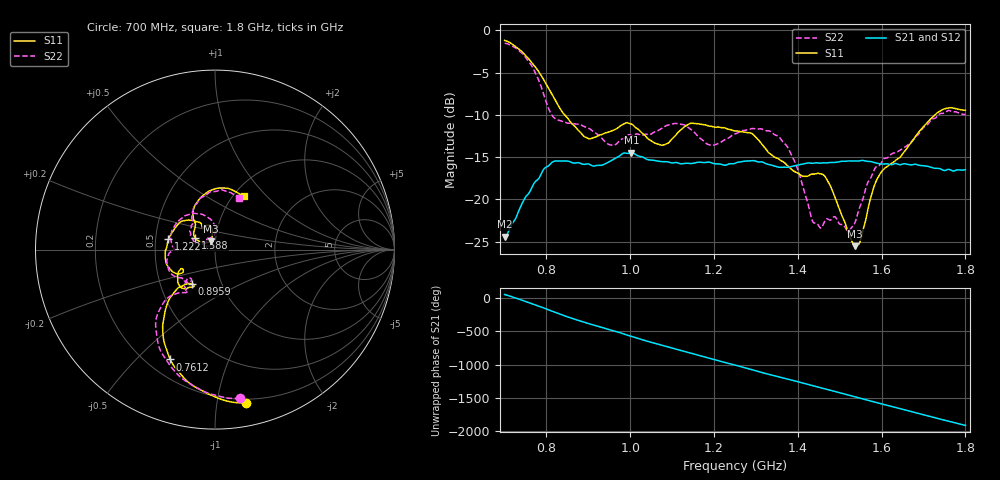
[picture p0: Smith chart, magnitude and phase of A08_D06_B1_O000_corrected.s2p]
! Created with skrf 1.9.0 (http://scikit-rf.org).
# Hz S RI R 50.0
!freq ReS11 ImS11 ReS21 ImS21 ReS12 ImS12 ReS22 ImS22
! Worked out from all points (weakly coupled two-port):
!   1601 points, 700 MHz to 1.8 GHz, reference 50 ohm
!   highest |S21| = -14.46 dB at 1.002 GHz (marker M1); lowest = -24.4 dB at 700.7 MHz (marker M2)
!   lowest |S11| = -25.5 dB at 1.537 GHz (marker M3), VSWR 1.11, Z = 47.4 + j4.45 ohm
!   |S11| at or under -10 dB: 843.4 MHz to 1.727 GHz (884 MHz wide, 68.8 % of centre)
!   |S22| runs from -23.8 to -1.5 dB; largest |S21 - S12| = 0.0034
!   S11 on the Smith chart (normalised r, x): 700 MHz: 0.17, -1.21; 761.2 MHz: 0.29, -0.63; 895.9 MHz: 0.72, -0.29; 1.222 GHz: 0.58, +0.07; 1.588 GHz: 0.79, +0.10; 1.8 GHz: 1.12, +0.75
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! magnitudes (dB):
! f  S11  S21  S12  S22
! 700 MHz  -1.2  -24.4  -24.2  -1.5
! 700.7 MHz  -1.2  -24.4  -24.1  -1.5
! 761.2 MHz  -3.6  -19.0  -18.9  -3.9
! 816.2 MHz  -7.8  -15.5  -15.6  -10.2
! 883.6 MHz  -12.2  -15.8  -15.7  -11.2
! 895.9 MHz  -12.7  -15.8  -15.9  -11.5
! 953.7 MHz  -11.9  -15.4  -15.4  -13.6
! 1.002 GHz  -11.1  -14.5  -14.6  -12.4
! 1.067 GHz  -13.5  -15.5  -15.4  -11.8
! 1.144 GHz  -11.0  -15.8  -15.8  -11.7
! 1.222 GHz  -11.5  -15.9  -16.0  -13.0
! 1.25 GHz  -11.9  -15.7  -15.7  -12.3
! 1.357 GHz  -15.3  -16.2  -16.2  -12.7
! 1.396 GHz  -16.8  -16.0  -16.0  -15.9
! 1.434 GHz  -17.0  -15.7  -15.7  -22.4
! 1.469 GHz  -17.7  -15.7  -15.7  -22.3
! 1.537 GHz  -25.5  -15.5  -15.5  -22.7
! 1.55 GHz  -24.8  -15.4  -15.4  -20.7
! 1.588 GHz  -17.8  -15.7  -15.7  -16.1
! 1.617 GHz  -16.0  -15.8  -15.8  -15.0
! 1.735 GHz  -9.7  -16.3  -16.4  -10.0
! 1.8 GHz  -9.5  -16.5  -16.5  -10.0
